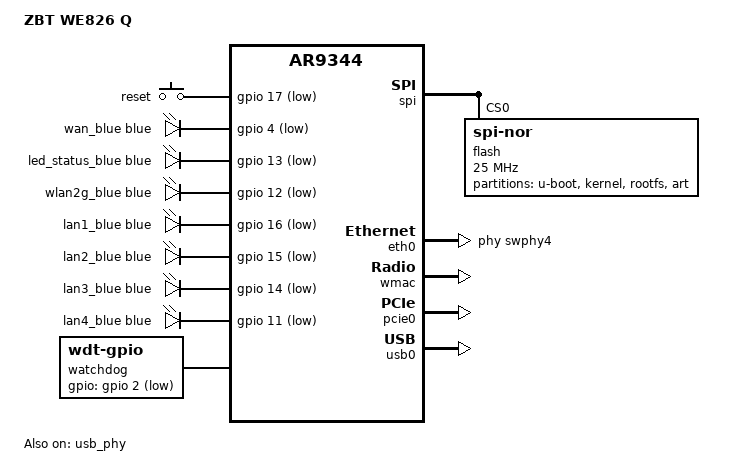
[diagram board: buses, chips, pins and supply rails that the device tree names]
// SPDX-License-Identifier: GPL-2.0-or-later OR MIT

#include "qca953x.dtsi"

#include <dt-bindings/gpio/gpio.h>
#include <dt-bindings/input/input.h>
#include <dt-bindings/leds/common.h>

/ {
	model = "ZBT WE826 Q";
	compatible = "zbtlink,zbt-we826", "qca,ar9344";

	aliases {
		led-boot = &led_status_blue;
		led-failsafe = &led_status_blue;
		led-running = &led_status_blue;
		led-upgrade = &led_status_blue;
		label-mac-device = &eth0;
	};

	keys {
		compatible = "gpio-keys";

		pinctrl-names = "default";

		reset {
			label = "reset";
			linux,code = <KEY_RESTART>;
			gpios = <&gpio 17 GPIO_ACTIVE_LOW>;
		};
	};

	leds {
		compatible = "gpio-leds";

		wan_blue {
			function = LED_FUNCTION_WAN;
			color = <LED_COLOR_ID_BLUE>;
			gpios = <&gpio 4 GPIO_ACTIVE_LOW>;
		};

		led_status_blue: status_blue {
			function = LED_FUNCTION_STATUS;
			color = <LED_COLOR_ID_BLUE>;
			gpios = <&gpio 13 GPIO_ACTIVE_LOW>;
		};

		wlan2g_blue {
			function = LED_FUNCTION_WLAN_2GHZ;
			color = <LED_COLOR_ID_BLUE>;
			gpios = <&gpio 12 GPIO_ACTIVE_LOW>;
		};

    	lan1_blue {
			function = LED_FUNCTION_LAN;
			color = <LED_COLOR_ID_BLUE>;
			gpios = <&gpio 16 GPIO_ACTIVE_LOW>;
		};

        lan2_blue {
			function = LED_FUNCTION_LAN;
			color = <LED_COLOR_ID_BLUE>;
			gpios = <&gpio 15 GPIO_ACTIVE_LOW>;
		};

        lan3_blue {
			function = LED_FUNCTION_LAN;
			color = <LED_COLOR_ID_BLUE>;
			gpios = <&gpio 14 GPIO_ACTIVE_LOW>;
		};
        
        lan4_blue {
			function = LED_FUNCTION_LAN;
			color = <LED_COLOR_ID_BLUE>;
			gpios = <&gpio 11 GPIO_ACTIVE_LOW>;
		};
	};

	watchdog {
		compatible = "linux,wdt-gpio";
		gpios = <&gpio 2 GPIO_ACTIVE_LOW>;
		hw_algo = "toggle";
		/* hw_margin_ms is actually 300s but driver limits it to 60s */
		hw_margin_ms = <60000>;
		always-running;
	};
};

&spi {
	status = "okay";

	flash@0 {
		compatible = "jedec,spi-nor";
		reg = <0>;
		spi-max-frequency = <25000000>;

		/* partitions are passed via bootloader */
		partitions {
			compatible = "fixed-partitions";
			#address-cells = <1>;
			#size-cells = <1>;

			partition@0 {
				label = "u-boot";
				reg = <0x000000 0x020000>;
				read-only;
			};

			partition@20000 {
				label = "kernel";
				reg = <0x020000 0x01ab5a0>;
			};

			partition@1ab5a0 {
				label = "rootfs";
				reg = <0x1ab5a0 0xff0000>;
				read-only;
			};

			partition@ff0000 {
				label = "art";
				reg = <0xff0000 0x1000000>;
				read-only;

				nvmem-layout {
					compatible = "fixed-layout";
					#address-cells = <1>;
					#size-cells = <1>;

					macaddr_art_0: macaddr@0 {
						reg = <0x0 0x6>;
					};

					macaddr_art_6: macaddr@6 {
						reg = <0x6 0x6>;
					};

					cal_art_1000: calibration@1000 {
						reg = <0x1000 0x440>;
					};
				};
			};
		};
	};
};

&eth0 {
	status = "okay";

	phy-handle = <&swphy4>;

	nvmem-cells = <&macaddr_art_0 0>;
	nvmem-cell-names = "mac-address";
};

&eth1 {
	/* Workaround: keep the Ethernet interfaces order/mapping correct
	 * (GMAC0 -> eth0, GMAC1 -> eth1, same as in old ar71xx target)
	 */
	compatible = "qca,qca9530-eth", "syscon", "simple-mfd";

	nvmem-cells = <&macaddr_art_6 1>;
	nvmem-cell-names = "mac-address";
};

&wdt {
	status = "disabled";
};

&wmac {
	status = "okay";

	nvmem-cells = <&macaddr_art_0 2>, <&cal_art_1000>;
	nvmem-cell-names = "mac-address", "calibration";
};

&pcie0 {
	status = "okay";
};

&usb0 {
	status = "okay";
};

&usb_phy {
	status = "okay";
};
